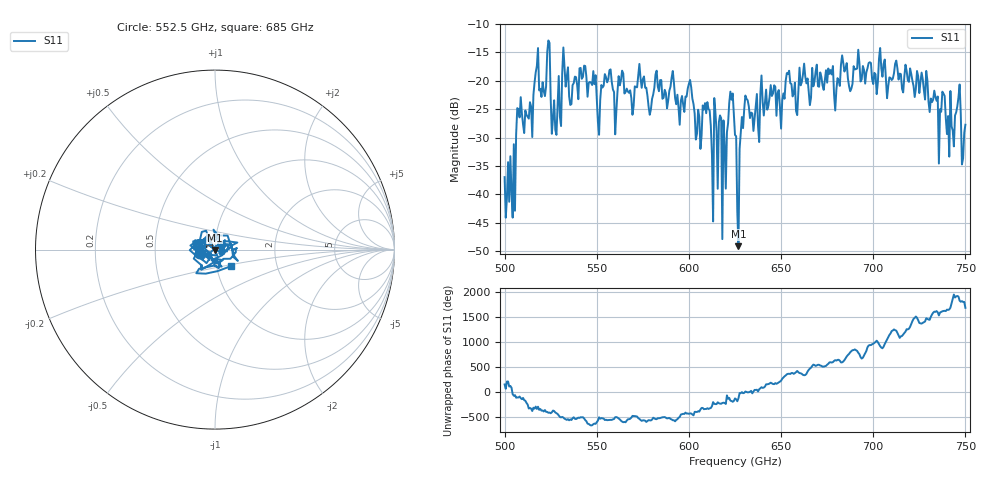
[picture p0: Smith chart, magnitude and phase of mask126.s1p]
!Created with skrf (http://scikit-rf.org).
# GHz S MA R 50.0
!freq magS11 angS11
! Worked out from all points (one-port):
!   401 points, 500 GHz to 750 GHz, reference 50 ohm
!   lowest |S11| = -49.2 dB at 626.9 GHz (marker M1), VSWR 1.01, Z = 49.8 - j0.273 ohm
!   |S11| at or under -10 dB: start of sweep to end of sweep
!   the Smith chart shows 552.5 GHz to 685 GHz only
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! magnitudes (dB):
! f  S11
! 500 GHz  -37.0
! 504.4 GHz  -44.1
! 507.5 GHz  -25.0
! 513.8 GHz  -23.8
! 516.9 GHz  -18.5
! 521.2 GHz  -21.8
! 523.8 GHz  -12.9
! 526.9 GHz  -23.4
! 531.2 GHz  -18.6
! 542.5 GHz  -19.3
! 551.2 GHz  -29.5
! 562.5 GHz  -20.8
! 593.8 GHz  -22.5
! 600.6 GHz  -19.8
! 605 GHz  -25.1
! 610 GHz  -23.8
! 611.9 GHz  -27.9
! 619.4 GHz  -31.2
! 623.1 GHz  -23.3
! 625 GHz  -29.6
! 626.9 GHz  -49.2
! 631.2 GHz  -23.2
! 656.2 GHz  -22.7
! 687.5 GHz  -21.8
! 718.8 GHz  -19.9
! 742.5 GHz  -28.0
! 746.2 GHz  -22.9
! 750 GHz  -27.7
